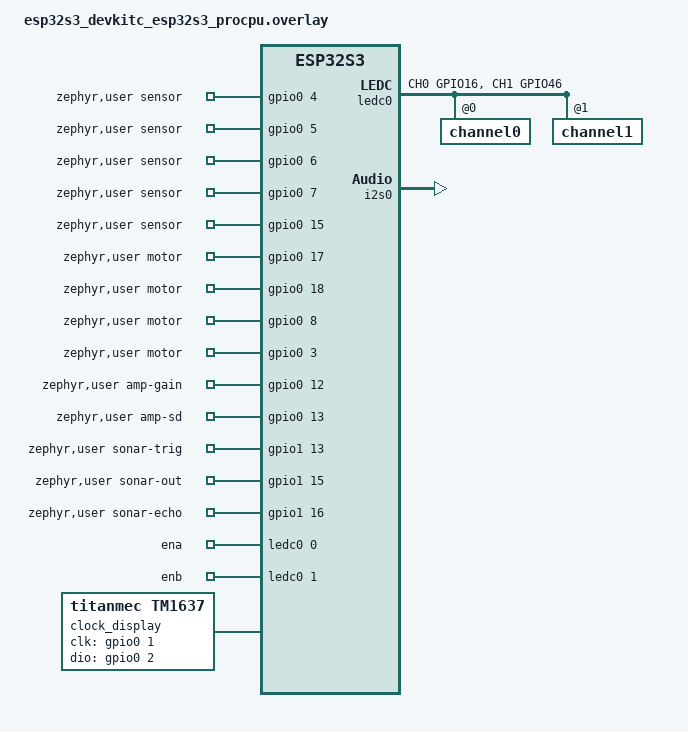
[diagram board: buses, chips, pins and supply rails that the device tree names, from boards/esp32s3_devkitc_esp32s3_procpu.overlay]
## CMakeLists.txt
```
cmake_minimum_required(VERSION 3.20.0)
find_package(Zephyr REQUIRED HINTS $ENV{ZEPHYR_BASE})
project(line_follower_robot C)

target_sources(app PRIVATE
  src/fatal.c
  src/main.c
  src/motor_control.c
  src/robot_state.c
)
target_sources_ifdef(CONFIG_APP_BRINGUP_SHELL app PRIVATE src/bringup_shell.c)

if(NOT CONFIG_APP_BRINGUP_SHELL)
  target_sources(app PRIVATE
    src/audio.c
    src/clock_display.c
    src/clock_format.c
    src/control_thread.c
    src/destination_manager.c
    src/drive.c
    src/events.c
    src/json_flat.c
    src/line_pid.c
    src/network.c
    src/obstacle_filter.c
    src/obstacle_monitor.c
    src/path_control.c
    src/robot_logic.c
    src/route.c
    src/safety.c
    src/tables_storage.c
    src/web_protocol.c
    src/wav.c
    src/web_server.c
  )

  # Chỉ để dùng websocket_internal.h (xem web_server.c)
  target_include_directories(app PRIVATE ${ZEPHYR_BASE}/subsys/net/lib/websocket)

  # Iterable section cho resource của service "robot_http"
  zephyr_linker_sources(SECTIONS sections-rom.ld)
  zephyr_linker_section(NAME http_resource_desc_robot_http
    KVMA RAM_REGION GROUP RODATA_REGION
  )
endif()

set(gen_dir ${ZEPHYR_BINARY_DIR}/include/generated)
generate_inc_file_for_target(app assets/tables.json ${gen_dir}/tables.json.inc)

generate_inc_file_for_target(app assets/audio/welcome.wav
  ${gen_dir}/welcome.wav.inc)

foreach(web_file index.html app.js style.css)
  generate_inc_file_for_target(app assets/web/${web_file}
    ${gen_dir}/${web_file}.gz.inc --gzip)
endforeach()
```

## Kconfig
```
mainmenu "Line follower robot"

config APP_BRINGUP_SHELL
	bool "Lệnh shell thử cảm biến và motor trên board"
	depends on SHELL
	help
	  Thêm lệnh "robot sensors|motor|stop" để kiểm tra phần cứng.
	  Chỉ dùng khi thử board, bánh xe phải được kê khỏi mặt đất.

config APP_WIFI_SSID
	string "SSID WiFi (2,4 GHz)"
	default ""
	help
	  Đặt trong wifi.conf, không đặt trong prj.conf hay mã nguồn.

config APP_WIFI_PSK
	string "Mật khẩu WiFi (để trống nếu mạng mở)"
	default ""

source "Kconfig.zephyr"
```

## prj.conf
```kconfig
# Log + console UART0 (cổng "UART" trên DevKitC-1)
CONFIG_LOG=y
CONFIG_LOG_DEFAULT_LEVEL=3
CONFIG_PRINTK=y
CONFIG_SERIAL=y
CONFIG_CONSOLE=y
CONFIG_UART_CONSOLE=y

CONFIG_GPIO=y
CONFIG_PWM=y

# PID dùng float ở nhiều luồng
CONFIG_FPU=y
CONFIG_FPU_SHARING=y
CONFIG_CBPRINTF_FP_SUPPORT=y

CONFIG_MAIN_STACK_SIZE=4096

# ESP32-S3-DevKitC-1: flash 8 MB
CONFIG_ESPTOOLPY_FLASHSIZE_8MB=y

CONFIG_REQUIRES_FULL_LIBC=y

# tables.json trên LittleFS
CONFIG_FLASH=y
CONFIG_FLASH_MAP=y
CONFIG_FLASH_PAGE_LAYOUT=y
CONFIG_FILE_SYSTEM=y
CONFIG_FILE_SYSTEM_LITTLEFS=y

CONFIG_THREAD_NAME=y

# WiFi station
CONFIG_WIFI=y
CONFIG_NETWORKING=y
CONFIG_NET_L2_WIFI_MGMT=y
CONFIG_NET_IPV4=y
CONFIG_NET_IPV6=n
CONFIG_NET_DHCPV4=y
CONFIG_NET_UDP=y
CONFIG_NET_TCP=y
CONFIG_NET_SOCKETS=y
CONFIG_NET_MGMT=y
CONFIG_NET_MGMT_EVENT=y
CONFIG_NET_MGMT_EVENT_INFO=y
CONFIG_DNS_RESOLVER=y
CONFIG_SNTP=y

# http://robot.local (bản cũ dùng hostname DHCP "robot-line" và mDNS "robot";
# Zephyr chỉ có một hostname cho cả hai)
CONFIG_NET_HOSTNAME_ENABLE=y
CONFIG_NET_HOSTNAME="robot"
CONFIG_MDNS_RESPONDER=y

CONFIG_HEAP_MEM_POOL_SIZE=65536

# HTTP + WebSocket
CONFIG_HTTP_SERVER=y
CONFIG_HTTP_SERVER_VERSION_2=n
CONFIG_HTTP_SERVER_WEBSOCKET=y
CONFIG_HTTP_SERVER_MAX_CLIENTS=4
CONFIG_HTTP_SERVER_CLIENT_BUFFER_SIZE=1024
CONFIG_HTTP_SERVER_STACK_SIZE=6144
CONFIG_HTTP_SERVER_CLIENT_INACTIVITY_TIMEOUT=20
CONFIG_WEBSOCKET_MAX_CONTEXTS=4
CONFIG_NET_CONTEXT_SNDTIMEO=y

# Mỗi WebSocket dùng 2 fd; cộng HTTP, mDNS, DNS, SNTP
CONFIG_ZVFS_OPEN_MAX=32
CONFIG_ZVFS_POLL_MAX=12
CONFIG_ZVFS_EVENTFD_MAX=4
CONFIG_NET_MAX_CONTEXTS=20
CONFIG_NET_MAX_CONN=20
CONFIG_NET_SOCKETS_SERVICE_STACK_SIZE=2400
CONFIG_SYSTEM_WORKQUEUE_STACK_SIZE=2048

# Đồng hồ TM1637 và âm thanh I2S
CONFIG_AUXDISPLAY=y
CONFIG_I2S=y
CONFIG_DMA=y

# An toàn: watchdog, reset khi lỗi nghiêm trọng, canh tràn stack
CONFIG_WATCHDOG=y
CONFIG_REBOOT=y
CONFIG_STACK_SENTINEL=y
```

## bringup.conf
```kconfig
# Thử phần cứng:  west build -p always -b esp32s3_devkitc/esp32s3/procpu . -- -DEXTRA_CONF_FILE=bringup.conf
CONFIG_SHELL=y
CONFIG_APP_BRINGUP_SHELL=y
```

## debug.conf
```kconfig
# Đo mức dùng stack trên board (in mỗi 30 s):
#   west build -p always -b esp32s3_devkitc/esp32s3/procpu . -- "-DEXTRA_CONF_FILE=wifi.conf;debug.conf"
CONFIG_THREAD_ANALYZER=y
CONFIG_THREAD_ANALYZER_AUTO=y
CONFIG_THREAD_ANALYZER_AUTO_INTERVAL=30
CONFIG_THREAD_ANALYZER_USE_LOG=y
CONFIG_THREAD_ANALYZER_AUTO_STACK_SIZE=2048
```

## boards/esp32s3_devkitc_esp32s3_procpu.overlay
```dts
/*
 * Robot dò line trên ESP32-S3-DevKitC-1 (flash 8 MB, không dùng PSRAM).
 * Sơ đồ chân giữ nguyên bản Arduino (robot/src/robot_config.h).
 *
 *   GPIO1   TM1637 CLK
 *   GPIO2   TM1637 DIO
 *   GPIO3   L298N IN4            (strapping: chọn nguồn JTAG)
 *   GPIO4   cảm biến line S1
 *   GPIO5   cảm biến line S2
 *   GPIO6   cảm biến line S3
 *   GPIO7   cảm biến line S4
 *   GPIO8   L298N IN3
 *   GPIO9   MAX98357 LRC  (I2S0 WS)
 *   GPIO10  MAX98357 BCLK (I2S0 BCK)
 *   GPIO11  MAX98357 DIN  (I2S0 SD out)
 *   GPIO12  MAX98357 GAIN        (giữ LOW)
 *   GPIO13  MAX98357 SD          (HIGH = bật amp)
 *   GPIO15  cảm biến line S5
 *   GPIO16  L298N ENA            (PWM, LEDC kênh 0)
 *   GPIO17  L298N IN1
 *   GPIO18  L298N IN2
 *   GPIO43  U0TXD console
 *   GPIO44  U0RXD console
 *   GPIO45  HC-SR04 TRIG         (strapping: VDD_SPI)
 *   GPIO46  L298N ENB            (PWM, LEDC kênh 1; strapping: ROM log)
 *   GPIO47  HC-SR04 OUT          (cấu hình input, firmware cũ không đọc)
 *   GPIO48  HC-SR04 ECHO         (DevKitC-1 v1.0: chung chân LED RGB)
 *
 * Chân strapping (3, 45, 46): mạch ngoài không được kéo chúng đổi mức lúc
 * reset. ECHO của HC-SR04 là 5 V: cần chia áp xuống 3,3 V.
 *
 * Board DevKitC bật sẵn spi2 trên GPIO10..13, đụng chân amp -> tắt.
 */

#include <zephyr/dt-bindings/gpio/gpio.h>
#include <zephyr/dt-bindings/pwm/pwm.h>
#include <zephyr/dt-bindings/pinctrl/esp32s3-pinctrl.h>

/* Board include bảng phân vùng 4M; module có 8 MB nên thay bằng bảng 8M. */
&flash0 {
	/delete-node/ partitions;
};

#include <espressif/partitions_0x0_amp_8M.dtsi>

/ {
	zephyr,user {
		/* S1..S5, mức HIGH = thấy line (LINE_ON) */
		sensor-gpios = <&gpio0 4 GPIO_ACTIVE_HIGH>,
			       <&gpio0 5 GPIO_ACTIVE_HIGH>,
			       <&gpio0 6 GPIO_ACTIVE_HIGH>,
			       <&gpio0 7 GPIO_ACTIVE_HIGH>,
			       <&gpio0 15 GPIO_ACTIVE_HIGH>;

		/* IN1..IN4 */
		motor-gpios = <&gpio0 17 GPIO_ACTIVE_HIGH>,
			      <&gpio0 18 GPIO_ACTIVE_HIGH>,
			      <&gpio0 8 GPIO_ACTIVE_HIGH>,
			      <&gpio0 3 GPIO_ACTIVE_HIGH>;

		/* ENA, ENB: 1 kHz như analogWrite() mặc định */
		pwms = <&ledc0 0 PWM_HZ(1000) PWM_POLARITY_NORMAL>,
		       <&ledc0 1 PWM_HZ(1000) PWM_POLARITY_NORMAL>;
		pwm-names = "ena", "enb";

		amp-gain-gpios = <&gpio0 12 GPIO_ACTIVE_HIGH>;
		amp-sd-gpios = <&gpio0 13 GPIO_ACTIVE_HIGH>;

		sonar-trig-gpios = <&gpio1 13 GPIO_ACTIVE_HIGH>;  /* GPIO45 */
		sonar-out-gpios = <&gpio1 15 GPIO_ACTIVE_HIGH>;   /* GPIO47 */
		sonar-echo-gpios = <&gpio1 16 GPIO_ACTIVE_HIGH>;  /* GPIO48 */
	};

	clock_display: tm1637 {
		compatible = "titanmec,tm1637";
		clk-gpios = <&gpio0 1 GPIO_ACTIVE_HIGH>;
		dio-gpios = <&gpio0 2 GPIO_ACTIVE_HIGH>;
		aux-columns = <4>;
		status = "okay";
	};
};

&pinctrl {
	robot_ledc_default: robot_ledc_default {
		group1 {
			pinmux = <LEDC_CH0_GPIO16>,
				 <LEDC_CH1_GPIO46>;
			output-enable;
		};
	};

	robot_i2s0_default: robot_i2s0_default {
		group1 {
			pinmux = <I2S0_O_WS_GPIO9>,
				 <I2S0_O_BCK_GPIO10>,
				 <I2S0_O_SD_GPIO11>;
		};
	};
};

&ledc0 {
	pinctrl-0 = <&robot_ledc_default>;
	pinctrl-names = "default";
	status = "okay";
	#address-cells = <1>;
	#size-cells = <0>;

	channel0@0 {
		reg = <0x0>;
		timer = <0>;
	};

	channel1@1 {
		reg = <0x1>;
		timer = <1>;
	};
};

&i2s0 {
	pinctrl-0 = <&robot_i2s0_default>;
	pinctrl-names = "default";
	status = "okay";
};

&dma {
	status = "okay";
};

/* Các ngoại vi có pinctrl mặc định đụng chân robot */
&spi2 {
	status = "disabled";
};

&spi3 {
	status = "disabled";
};

&i2c0 {
	status = "disabled";
};

&i2c1 {
	status = "disabled";
};
```

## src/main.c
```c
#include <zephyr/kernel.h>
#include <zephyr/logging/log.h>

#include "motor_control.h"

#ifndef CONFIG_APP_BRINGUP_SHELL
#include "audio.h"
#include "clock_display.h"
#include "control_thread.h"
#include "destination_manager.h"
#include "network.h"
#include "obstacle_monitor.h"
#include "tables_storage.h"
#include "web_server.h"
#endif

LOG_MODULE_REGISTER(app, LOG_LEVEL_INF);

#ifndef CONFIG_APP_BRINGUP_SHELL
static const char default_tables[] = {
#include "tables.json.inc"
	0x00};

static void start_robot(void)
{
	/* Lỗi bộ nhớ hay âm thanh không ngăn robot chạy: bảng rỗng, không có tiếng */
	if (tables_storage_mount() == 0) {
		(void)destinations_init(default_tables);
	}

	if (audio_init() != 0) {
		LOG_ERR("audio unavailable");
	}

	if (clock_display_start() != 0) {
		LOG_ERR("clock display unavailable");
	}

	/* Không đo được vật cản thì không cho robot chạy */
	int ret = obstacle_monitor_init();

	if (ret != 0) {
		LOG_ERR("obstacle monitor init failed: %d; robot disabled", ret);
		return;
	}

	ret = control_thread_start();
	if (ret != 0) {
		LOG_ERR("control thread start failed: %d; robot disabled", ret);
		return;
	}

	network_start();
	(void)web_server_start();
}
#endif

int main(void)
{
	/* Motor phải dừng trước mọi khởi tạo khác */
	int ret = motor_control_init();

	if (ret != 0) {
		LOG_ERR("motor init failed: %d", ret);
		return ret;
	}

	stop_motors();

	ret = line_sensors_init();
	if (ret != 0) {
		LOG_ERR("line sensor init failed: %d", ret);
		return ret;
	}

	LOG_INF("ESP32-S3 LINE FOLLOWER (Zephyr)");

#ifdef CONFIG_APP_BRINGUP_SHELL
	LOG_WRN("BRING-UP build: luồng điều khiển và mạng không chạy");
#else
	start_robot();
#endif

	return 0;
}
```

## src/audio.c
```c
/*
 * Phát WAV 16 kHz mono nhúng trong firmware qua I2S0 -> MAX98357.
 * Driver I2S của ESP32 chỉ nhận 2 kênh nên mỗi mẫu được nhân đôi.
 */

#include <string.h>

#include <zephyr/drivers/gpio.h>
#include <zephyr/drivers/i2s.h>
#include <zephyr/kernel.h>
#include <zephyr/logging/log.h>
#include <zephyr/spinlock.h>
#include <zephyr/sys/byteorder.h>

#include "audio.h"
#include "robot_state.h"
#include "wav.h"

LOG_MODULE_REGISTER(audio, LOG_LEVEL_INF);

#define USER_NODE DT_PATH(zephyr_user)

/* Thấp hơn luồng điều khiển, cao hơn web để không hụt dữ liệu */
#define AUDIO_PRIORITY K_PRIO_PREEMPT(8)
#define AUDIO_STACK_SIZE 3072

#define FRAMES_PER_BLOCK 512
#define BLOCK_BYTES (FRAMES_PER_BLOCK * 2 * sizeof(int16_t))
#define BLOCK_COUNT 8
#define PREFILL_BLOCKS 4
#define I2S_TIMEOUT_MS 500
#define DRAIN_POLL_MS 10

/* Âm lượng 0.30 như SetGain() của bản cũ */
#define GAIN_NUM 3
#define GAIN_DEN 10

#define FILE_NAME_LEN 80

static const struct device *const i2s_dev = DEVICE_DT_GET(DT_NODELABEL(i2s0));
static const struct gpio_dt_spec amp_gain = GPIO_DT_SPEC_GET(USER_NODE, amp_gain_gpios);
static const struct gpio_dt_spec amp_sd = GPIO_DT_SPEC_GET(USER_NODE, amp_sd_gpios);

static const uint8_t welcome_wav[] = {
#include "welcome.wav.inc"
};

/*
 * Slab được khởi tạo lại trước mỗi lần phát: I2S_TRIGGER_DROP của driver ESP32
 * dừng DMA mà không trả block đang truyền, nên mỗi lần bị ngắt sẽ mất một block.
 */
static uint8_t __aligned(4) tx_blocks[BLOCK_COUNT * BLOCK_BYTES];
static struct k_mem_slab tx_slab;

static K_SEM_DEFINE(request_sem, 0, 1);
static struct k_spinlock request_lock;
static char requested[FILE_NAME_LEN];

static K_THREAD_STACK_DEFINE(audio_stack, AUDIO_STACK_SIZE);
static struct k_thread audio_data;

void audio_request(const char *file)
{
	const k_spinlock_key_t key = k_spin_lock(&request_lock);

	robot_copy_text(requested, sizeof(requested), file);
	k_spin_unlock(&request_lock, key);

	k_sem_give(&request_sem);
}

/* Chỉ có một đoạn âm thanh; tên .mp3 cũ vẫn được chấp nhận cho app.js */
static bool clip_known(const char *name)
{
	if (strncmp(name, "/audio/", 7) == 0) {
		name += 7;
	}

	return strcmp(name, "welcome.mp3") == 0 || strcmp(name, "welcome.wav") == 0;
}

/* Cấp một block và điền mẫu bắt đầu từ *offset, phần thiếu là im lặng */
static int queue_block(const struct wav_pcm *clip, size_t *offset)
{
	void *block;
	int ret = k_mem_slab_alloc(&tx_slab, &block, K_MSEC(I2S_TIMEOUT_MS));

	if (ret != 0) {
		return ret;
	}

	int16_t *samples = block;

	memset(block, 0, BLOCK_BYTES);

	for (size_t i = 0; i < FRAMES_PER_BLOCK && *offset < clip->bytes; i++) {
		const int16_t raw = (int16_t)sys_get_le16(&clip->data[*offset]);
		const int16_t value = (int16_t)(raw * GAIN_NUM / GAIN_DEN);

		samples[2 * i] = value;
		samples[2 * i + 1] = value;
		*offset += sizeof(int16_t);
	}

	ret = i2s_write(i2s_dev, block, BLOCK_BYTES);
	if (ret != 0) {
		k_mem_slab_free(&tx_slab, block);
	}

	return ret;
}

/* 0 = phát xong, 1 = bị yêu cầu mới ngắt, âm = lỗi */
static int play(const struct wav_pcm *clip)
{
	struct i2s_config config = {
		.word_size = 16,
		.channels = 2,
		.format = I2S_FMT_DATA_FORMAT_I2S,
		.options = I2S_OPT_BIT_CLK_CONTROLLER | I2S_OPT_FRAME_CLK_CONTROLLER,
		.frame_clk_freq = clip->sample_rate,
		.mem_slab = &tx_slab,
		.block_size = BLOCK_BYTES,
		.timeout = I2S_TIMEOUT_MS,
	};
	size_t offset = 0;
	/* DMA đã dừng (DROP ở lần trước), không còn ai giữ block */
	int ret = k_mem_slab_init(&tx_slab, tx_blocks, BLOCK_BYTES, BLOCK_COUNT);

	if (ret != 0) {
		return ret;
	}

	ret = i2s_configure(i2s_dev, I2S_DIR_TX, &config);

	if (ret != 0) {
		return ret;
	}

	for (int i = 0; i < PREFILL_BLOCKS && offset < clip->bytes; i++) {
		ret = queue_block(clip, &offset);
		if (ret != 0) {
			return ret;
		}
	}

	ret = i2s_trigger(i2s_dev, I2S_DIR_TX, I2S_TRIGGER_START);
	if (ret != 0) {
		return ret;
	}

	while (offset < clip->bytes) {
		if (k_sem_count_get(&request_sem) > 0) {
			return 1;
		}
		ret = queue_block(clip, &offset);
		if (ret != 0) {
			return ret;
		}
	}

	ret = i2s_trigger(i2s_dev, I2S_DIR_TX, I2S_TRIGGER_DRAIN);
	if (ret != 0) {
		return ret;
	}

	/* Chờ DMA trả hết block */
	for (int waited = 0; k_mem_slab_num_used_get(&tx_slab) > 0U; waited += DRAIN_POLL_MS) {
		if (waited >= I2S_TIMEOUT_MS) {
			return -ETIMEDOUT;
		}
		k_msleep(DRAIN_POLL_MS);
	}

	return 0;
}

static void audio_loop(void *p1, void *p2, void *p3)
{
	ARG_UNUSED(p1);
	ARG_UNUSED(p2);
	ARG_UNUSED(p3);

	struct wav_pcm clip;

	if (wav_parse(welcome_wav, sizeof(welcome_wav), &clip) != 0) {
		LOG_ERR("[AUDIO] embedded WAV is invalid");
		return;
	}

	while (true) {
		char name[FILE_NAME_LEN];

		(void)k_sem_take(&request_sem, K_FOREVER);

		const k_spinlock_key_t key = k_spin_lock(&request_lock);

		robot_copy_text(name, sizeof(name), requested);
		k_spin_unlock(&request_lock, key);

		LOG_INF("[AUDIO] request %s", name);

		if (!clip_known(name)) {
			robot_set_noticef("Audio not found: %s", name);
			LOG_WRN("[AUDIO] not found %s", name);
			continue;
		}

		robot_set_noticef("Playing %s", name);

		const int ret = play(&clip);

		/* Đưa driver về READY cho lần sau, kể cả sau lỗi hụt dữ liệu */
		(void)i2s_trigger(i2s_dev, I2S_DIR_TX, I2S_TRIGGER_DROP);

		if (ret == 0) {
			robot_set_notice("Audio done");
		} else if (ret < 0) {
			robot_set_notice("Audio begin FAILED");
			LOG_ERR("[AUDIO] playback failed: %d", ret);
		}
	}
}

int audio_init(void)
{
	if (!device_is_ready(i2s_dev) || !gpio_is_ready_dt(&amp_gain) ||
	    !gpio_is_ready_dt(&amp_sd)) {
		return -ENODEV;
	}

	/* Trình tự của setup() bản cũ: SD LOW, GAIN LOW, rồi SD HIGH */
	int ret = gpio_pin_configure_dt(&amp_sd, GPIO_OUTPUT_INACTIVE);

	if (ret == 0) {
		ret = gpio_pin_configure_dt(&amp_gain, GPIO_OUTPUT_INACTIVE);
	}
	if (ret == 0) {
		ret = gpio_pin_set_dt(&amp_sd, 1);
	}
	if (ret != 0) {
		return ret;
	}

	k_tid_t tid = k_thread_create(&audio_data, audio_stack,
				      K_THREAD_STACK_SIZEOF(audio_stack), audio_loop, NULL,
				      NULL, NULL, AUDIO_PRIORITY, 0, K_NO_WAIT);

	(void)k_thread_name_set(tid, "audio");

	return 0;
}
```

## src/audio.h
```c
#pragma once

int audio_init(void);

/* Yêu cầu phát một file; không chặn, gọi được từ luồng điều khiển. */
void audio_request(const char *file);
```

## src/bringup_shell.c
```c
/*
 * Lệnh thử phần cứng (chỉ có khi build với bringup.conf).
 * Mỗi lệnh motor tự dừng sau tối đa BRINGUP_MAX_MS.
 */

#include <stdlib.h>

#include <zephyr/kernel.h>
#include <zephyr/shell/shell.h>

#include "motor_control.h"
#include "robot_config.h"

#define BRINGUP_MAX_MS 3000L
#define BRINGUP_SAMPLES 50
#define BRINGUP_SAMPLE_MS 200

static void motor_stop_work_handler(struct k_work *work)
{
	ARG_UNUSED(work);
	stop_motors();
}

static K_WORK_DELAYABLE_DEFINE(motor_stop_work, motor_stop_work_handler);

static int parse_long(const char *text, long min, long max, long *out)
{
	char *end;
	const long value = strtol(text, &end, 10);

	if (end == text || *end != '\0' || value < min || value > max) {
		return -EINVAL;
	}

	*out = value;
	return 0;
}

static int cmd_sensors(const struct shell *sh, size_t argc, char **argv)
{
	ARG_UNUSED(argc);
	ARG_UNUSED(argv);

	for (int i = 0; i < BRINGUP_SAMPLES; i++) {
		uint8_t s[5];
		const int ret = read_sensors(s);

		if (ret != 0) {
			shell_error(sh, "read failed: %d", ret);
			return ret;
		}

		shell_print(sh, "S1..S5 = %u %u %u %u %u", s[0], s[1], s[2], s[3], s[4]);
		k_msleep(BRINGUP_SAMPLE_MS);
	}

	return 0;
}

static int cmd_motor(const struct shell *sh, size_t argc, char **argv)
{
	long left;
	long right;
	long duration;

	ARG_UNUSED(argc);

	if (parse_long(argv[1], -MOTOR_SPEED_LIMIT, MOTOR_SPEED_LIMIT, &left) != 0 ||
	    parse_long(argv[2], -MOTOR_SPEED_LIMIT, MOTOR_SPEED_LIMIT, &right) != 0 ||
	    parse_long(argv[3], 1, BRINGUP_MAX_MS, &duration) != 0) {
		shell_error(sh, "left/right: -255..255, ms: 1..%ld", BRINGUP_MAX_MS);
		return -EINVAL;
	}

	/*
	 * Phải xuất motor trước rồi mới hẹn giờ dừng. Làm ngược lại thì work
	 * (ưu tiên cao hơn shell) có thể dừng xong trước khi motor được bật.
	 */
	motor_output((int)left, (int)right);
	if (k_work_reschedule(&motor_stop_work, K_MSEC(duration)) < 0) {
		stop_motors();
		shell_error(sh, "cannot schedule stop");
		return -EIO;
	}

	shell_print(sh, "L=%ld R=%ld trong %ld ms", left, right, duration);

	return 0;
}

static int cmd_stop(const struct shell *sh, size_t argc, char **argv)
{
	ARG_UNUSED(argc);
	ARG_UNUSED(argv);

	stop_motors();
	shell_print(sh, "stopped");

	return 0;
}

SHELL_STATIC_SUBCMD_SET_CREATE(
	robot_cmds, SHELL_CMD(sensors, NULL, "In S1..S5 trong 10 s", cmd_sensors),
	SHELL_CMD_ARG(motor, NULL, "<left> <right> <ms>", cmd_motor, 4, 0),
	SHELL_CMD(stop, NULL, "Dừng motor", cmd_stop), SHELL_SUBCMD_SET_END);

SHELL_CMD_REGISTER(robot, &robot_cmds, "Thử phần cứng robot", NULL);
```

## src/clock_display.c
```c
#include <string.h>

#include <zephyr/drivers/auxdisplay.h>
#include <zephyr/kernel.h>
#include <zephyr/logging/log.h>

#include "clock_display.h"
#include "clock_format.h"
#include "network.h"

LOG_MODULE_REGISTER(clock, LOG_LEVEL_INF);

/* Driver TM1637 bit-bang chậm nên không chạy trong luồng điều khiển */
#define CLOCK_PRIORITY K_PRIO_PREEMPT(12)
#define CLOCK_STACK_SIZE 2048
#define CLOCK_PERIOD_MS 1000
#define CLOCK_BRIGHTNESS 4

static const struct device *const display = DEVICE_DT_GET(DT_NODELABEL(clock_display));

static K_THREAD_STACK_DEFINE(clock_stack, CLOCK_STACK_SIZE);
static struct k_thread clock_data;

static void clock_loop(void *p1, void *p2, void *p3)
{
	ARG_UNUSED(p1);
	ARG_UNUSED(p2);
	ARG_UNUSED(p3);

	int64_t next_ms = k_uptime_get();

	while (true) {
		char text[CLOCK_TEXT_LEN];
		int64_t seconds = 0;
		const bool valid = network_local_time(&seconds);

		clock_format(valid, seconds, text);

		const int ret =
			auxdisplay_write(display, (const uint8_t *)text, (uint16_t)strlen(text));

		if (ret != 0) {
			LOG_WRN_ONCE("TM1637 write failed: %d", ret);
		}

		next_ms += CLOCK_PERIOD_MS;
		(void)k_sleep(K_TIMEOUT_ABS_MS(next_ms));
	}
}

int clock_display_start(void)
{
	if (!device_is_ready(display)) {
		return -ENODEV;
	}

	(void)auxdisplay_brightness_set(display, CLOCK_BRIGHTNESS);

	k_tid_t tid = k_thread_create(&clock_data, clock_stack,
				      K_THREAD_STACK_SIZEOF(clock_stack), clock_loop, NULL,
				      NULL, NULL, CLOCK_PRIORITY, 0, K_NO_WAIT);

	(void)k_thread_name_set(tid, "clock");

	return 0;
}
```

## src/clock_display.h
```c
#pragma once

/* Hiển thị đồng hồ trên TM1637 bằng một luồng ưu tiên thấp */
int clock_display_start(void);
```

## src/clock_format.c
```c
#include <string.h>

#include "clock_format.h"

#define SECONDS_PER_DAY 86400

void clock_format(bool valid, int64_t local_seconds, char out[CLOCK_TEXT_LEN])
{
	if (!valid || local_seconds < 0) {
		memcpy(out, "----", 5);
		return;
	}

	const int in_day = (int)(local_seconds % SECONDS_PER_DAY);
	const int hour = in_day / 3600;
	const int minute = (in_day / 60) % 60;
	int n = 0;

	out[n++] = (char)('0' + hour / 10);
	out[n++] = (char)('0' + hour % 10);
	if (in_day % 2 == 0) {
		out[n++] = '.';
	}
	out[n++] = (char)('0' + minute / 10);
	out[n++] = (char)('0' + minute % 10);
	out[n] = '\0';
}
```

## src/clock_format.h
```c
#pragma once

#include <stdbool.h>
#include <stdint.h>

#define CLOCK_TEXT_LEN 6

/*
 * Chuỗi cho TM1637: "HHMM", giây chẵn thêm '.' sau giờ (bật dấu hai chấm).
 * Chưa đồng bộ giờ thì "----". local_seconds đã cộng múi giờ.
 */
void clock_format(bool valid, int64_t local_seconds, char out[CLOCK_TEXT_LEN]);
```

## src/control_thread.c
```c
#include <zephyr/kernel.h>

#include "control_thread.h"
#include "motor_control.h"
#include "obstacle_monitor.h"
#include "robot_logic.h"
#include "safety.h"

/*
 * Ưu tiên cooperative cao: cao hơn mạng, web, audio và đồng hồ; mỗi chu kỳ
 * chỉ chạy rất ngắn rồi ngủ.
 */
#define CONTROL_PRIORITY K_PRIO_COOP(2)
#define CONTROL_STACK_SIZE 4096

static K_THREAD_STACK_DEFINE(control_stack, CONTROL_STACK_SIZE);
static struct k_thread control_data;

static void control_loop(void *p1, void *p2, void *p3)
{
	ARG_UNUSED(p1);
	ARG_UNUSED(p2);
	ARG_UNUSED(p3);

	int64_t next_ms = k_uptime_get();

	while (true) {
		uint8_t sensor[5];

		obstacle_monitor_update(k_uptime_get_32());

		if (read_sensors(sensor) != 0) {
			robot_fail_stop("line sensor read failed");
		} else {
			robot_logic_step(k_uptime_get_32(), sensor);
		}

		safety_heartbeat();

		next_ms += LINE_LOOP_DELAY_MS;

		/* Trễ hạn thì lấy mốc mới; không bao giờ chạy liên tục không ngủ */
		const int64_t now_ms = k_uptime_get();

		if (next_ms <= now_ms) {
			next_ms = now_ms + LINE_LOOP_DELAY_MS;
		}

		(void)k_sleep(K_TIMEOUT_ABS_MS(next_ms));
	}
}

int control_thread_start(void)
{
	robot_logic_reset();

	/* Không có watchdog thì không cho robot chạy */
	const int ret = safety_start();

	if (ret != 0) {
		return ret;
	}

	k_tid_t tid = k_thread_create(&control_data, control_stack,
				      K_THREAD_STACK_SIZEOF(control_stack), control_loop, NULL,
				      NULL, NULL, CONTROL_PRIORITY, K_FP_REGS, K_NO_WAIT);

	(void)k_thread_name_set(tid, "control");

	return 0;
}
```

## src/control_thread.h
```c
#pragma once

/* Tạo luồng điều khiển; gọi sau khi motor, cảm biến và các module đã sẵn sàng */
int control_thread_start(void);
```

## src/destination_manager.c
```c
#include <errno.h>
#include <limits.h>
#include <stdlib.h>
#include <string.h>

#include <zephyr/kernel.h>
#include <zephyr/logging/log.h>
#include <zephyr/sys/util.h>

#include "destination_manager.h"
#include "json_flat.h"
#include "robot_state.h"

LOG_MODULE_REGISTER(tables, LOG_LEVEL_INF);

struct destination {
	int id;
	char code[ROUTE_CODE_MAX_LEN + 1];
};

struct table {
	size_t count;
	struct destination entry[DESTINATION_MAX]; /* sắp theo id tăng dần */
};

/* Mọi bộ đệm tĩnh bên dưới được bảo vệ bởi table_mutex */
static K_MUTEX_DEFINE(table_mutex);
static struct table active;
static struct table pending;
static char io_buf[DESTINATION_JSON_LEN];

static struct destination *table_find(struct table *t, int id)
{
	for (size_t i = 0; i < t->count; i++) {
		if (t->entry[i].id == id) {
			return &t->entry[i];
		}
	}
	return NULL;
}

/* Người gọi đảm bảo id chưa có và bảng còn chỗ */
static void table_insert(struct table *t, int id, const char *code)
{
	size_t pos = 0;

	while (pos < t->count && t->entry[pos].id < id) {
		pos++;
	}
	memmove(&t->entry[pos + 1], &t->entry[pos], (t->count - pos) * sizeof(t->entry[0]));
	t->entry[pos].id = id;
	robot_copy_text(t->entry[pos].code, sizeof(t->entry[pos].code), code);
	t->count++;
}

struct parse_ctx {
	bool strict; /* lưu từ web: lỗi nào cũng từ chối; nạp file: bỏ qua mục lỗi */
	const char *error;
};

static void parse_member(const char *key, const struct json_flat_value *value, void *arg)
{
	struct parse_ctx *ctx = arg;
	char code[128];
	char *end = NULL;
	const char *error = NULL;

	if (ctx->error != NULL) {
		return;
	}

	errno = 0;
	const long id = strtol(key, &end, 10);

	if (end == key || *end != '\0' || id <= 0 || errno != 0 || id > INT_MAX) {
		error = "id must be an integer from 1 to 2147483647";
	} else if (table_find(&pending, (int)id) != NULL) {
		error = "duplicate destination id";
	} else if (value->type != JSON_FLAT_STRING) {
		error = "code must be string";
	} else if (!json_flat_get_string(value, code, sizeof(code))) {
		error = "code too long";
	} else if (!route_path_valid(code, &error)) {
		/* error đã được gán */
	} else if (pending.count >= DESTINATION_MAX) {
		error = "too many destinations (max 32)";
	} else {
		table_insert(&pending, (int)id, code);
		return;
	}

	if (ctx->strict) {
		ctx->error = error;
	} else {
		LOG_WRN("[TABLES] skip %s: %s", key, error);
	}
}

/* Phân tích vào "pending". Trả về NULL nếu thành công. */
static const char *parse_into_pending(const char *text, size_t len, bool strict)
{
	struct parse_ctx ctx = {.strict = strict};

	pending.count = 0;

	const enum json_flat_status status = json_flat_parse(text, len, parse_member, &ctx);

	if (status != JSON_FLAT_OK) {
		return json_flat_error(status);
	}

	return ctx.error;
}

/* Code chỉ gồm L R S 0 nên không cần escape */
static int serialize(const struct table *t, char *out, size_t out_len)
{
	size_t n = 0;

	if (out_len < 3U) {
		return -ENOSPC;
	}
	out[n++] = '{';

	for (size_t i = 0; i < t->count; i++) {
		const int written =
			snprintk(&out[n], out_len - n, "%s\"%d\":\"%s\"", i == 0U ? "" : ",",
				 t->entry[i].id, t->entry[i].code);

		if (written < 0 || (size_t)written >= out_len - n) {
			return -ENOSPC;
		}
		n += (size_t)written;
	}

	if (n + 2U > out_len) {
		return -ENOSPC;
	}
	out[n++] = '}';
	out[n] = '\0';

	return (int)n;
}

static int load_locked(void)
{
	const int len = tables_storage_read(io_buf, sizeof(io_buf));

	if (len < 0) {
		LOG_WRN("[TABLES] read failed: %d", len);
		return len;
	}

	const char *error = parse_into_pending(io_buf, (size_t)len, false);

	if (error != NULL) {
		LOG_WRN("[TABLES] parse error: %s", error);
		return -EINVAL;
	}

	active = pending;
	LOG_INF("[TABLES] loaded %u destination(s)", (unsigned int)active.count);

	return 0;
}

int destinations_load(void)
{
	k_mutex_lock(&table_mutex, K_FOREVER);
	const int ret = load_locked();

	k_mutex_unlock(&table_mutex);
	return ret;
}

int destinations_init(const char *default_json)
{
	k_mutex_lock(&table_mutex, K_FOREVER);
	active.count = 0;

	int ret = load_locked();

	if (ret == -ENOENT && default_json != NULL) {
		ret = tables_storage_write(default_json, strlen(default_json));
		if (ret == 0) {
			ret = load_locked();
		}
	}

	k_mutex_unlock(&table_mutex);
	return ret;
}

int destinations_save_json(const char *body, size_t len, const char **error)
{
	int ret = -EINVAL;

	k_mutex_lock(&table_mutex, K_FOREVER);

	*error = parse_into_pending(body, len, true);
	if (*error == NULL) {
		const int out_len = serialize(&pending, io_buf, sizeof(io_buf));

		if (out_len < 0 || tables_storage_write(io_buf, (size_t)out_len) != 0) {
			*error = "cannot write tables.json";
			ret = -EIO;
		} else {
			active = pending;
			ret = 0;
			LOG_INF("[TABLES] saved %u destination(s)",
				(unsigned int)active.count);
		}
	}

	k_mutex_unlock(&table_mutex);
	return ret;
}

int destinations_json(char *out, size_t out_len)
{
	k_mutex_lock(&table_mutex, K_FOREVER);
	const int ret = serialize(&active, out, out_len);

	k_mutex_unlock(&table_mutex);
	return ret;
}

bool destinations_lookup(int id, char code[ROUTE_CODE_MAX_LEN + 1])
{
	bool found = false;

	k_mutex_lock(&table_mutex, K_FOREVER);

	const struct destination *d = table_find(&active, id);

	if (d != NULL) {
		robot_copy_text(code, ROUTE_CODE_MAX_LEN + 1, d->code);
		found = true;
	}

	k_mutex_unlock(&table_mutex);
	return found;
}
```

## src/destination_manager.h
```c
#pragma once

#include <stdbool.h>
#include <stddef.h>

#include "robot_config.h"

#define DESTINATION_MAX 32
/* Đủ cho DESTINATION_MAX mục dạng "2147483647":"<90 ký tự>", */
#define DESTINATION_JSON_LEN 4096

/* error trỏ tới chuỗi hằng, giữ nguyên thông điệp của bản cũ */
bool route_path_valid(const char *path, const char **error);

/* Nạp bảng; chưa có file thì ghi bảng mặc định. */
int destinations_init(const char *default_json);

/* Nạp lại từ bộ nhớ. Lỗi thì giữ nguyên bảng đang có. */
int destinations_load(void);

/* Kiểm tra, ghi xuống bộ nhớ rồi mới thay bảng đang dùng */
int destinations_save_json(const char *body, size_t len, const char **error);

/* Trả về độ dài JSON, hoặc mã âm nếu bộ đệm nhỏ */
int destinations_json(char *out, size_t out_len);

bool destinations_lookup(int id, char code[ROUTE_CODE_MAX_LEN + 1]);

/*
 * Lớp lưu trữ (tables_storage.c; test thay bằng bản trong RAM).
 * read trả về số byte hoặc mã âm (-ENOENT nếu chưa có file).
 */
int tables_storage_read(char *buf, size_t size);
int tables_storage_write(const char *data, size_t len);
```

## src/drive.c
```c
#include "drive.h"
#include "line_pid.h"
#include "motor_control.h"
#include "robot_state.h"

void drive_motors(int left, int right)
{
	motor_output(left, right);

	robot_state_lock();
	g_robot.left_speed = left;
	g_robot.right_speed = right;
	robot_state_unlock();
}

void drive_halt(void)
{
	stop_motors();

	robot_state_lock();
	g_robot.left_speed = 0;
	g_robot.right_speed = 0;
	robot_state_unlock();
}

void apply_manual_drive(void)
{
	int left;
	int right;

	robot_state_lock();
	manual_drive_speeds(g_robot.drive_dir, g_robot.base_speed, g_robot.max_speed, &left,
			    &right);
	drive_motors(left, right);
	robot_state_unlock();
}
```
